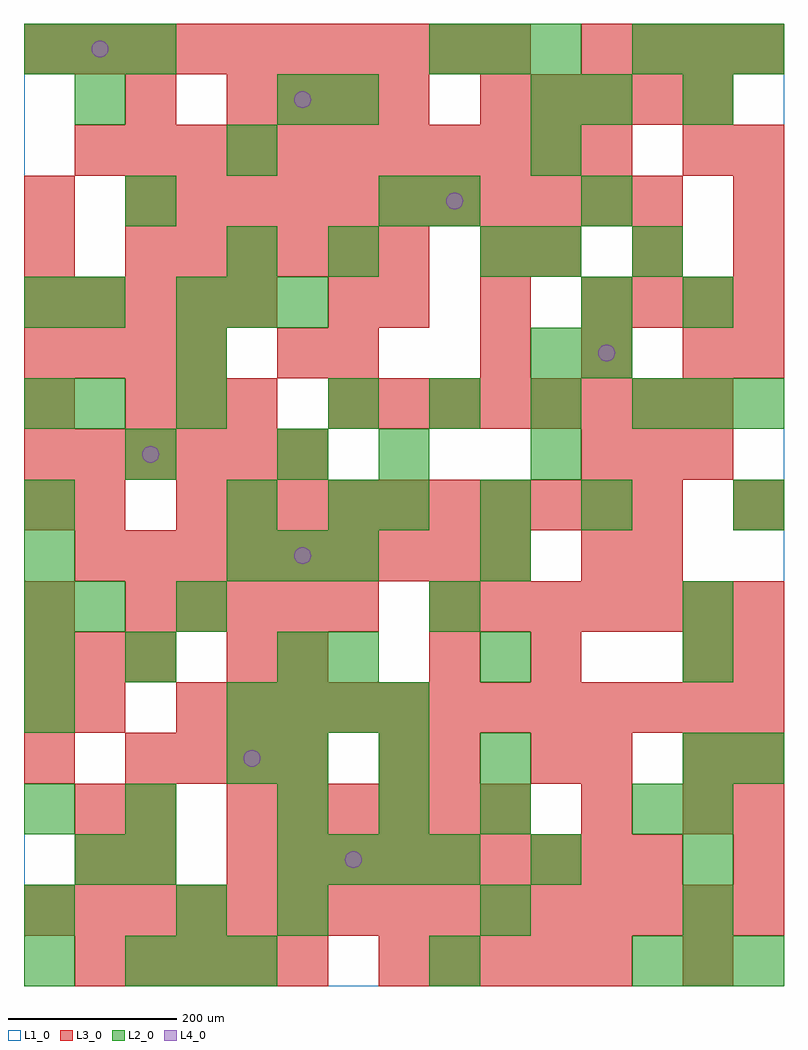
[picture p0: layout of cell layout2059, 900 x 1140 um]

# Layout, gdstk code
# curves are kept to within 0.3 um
import gdstk
lib = gdstk.Library(unit=1e-6, precision=1e-09)
def R(c, l, rs):  # rectangles x0, y0, x1, y1
    for r in rs: c.add(gdstk.rectangle(r[:2], r[2:], *l))
def A(c, l, x, y, w, h, nx, ny, dx, dy):  # array of equal rectangles
    R(c, l, [(x+i*dx, y+j*dy, x+i*dx+w, y+j*dy+h) for i in range(nx) for j in range(ny)])
def P(c, l, *ps):  # polygons
    for p in ps: c.add(gdstk.Polygon(p, *l))
L1_0 = (1, 0)
L2_0 = (2, 0)
L3_0 = (3, 0)
L4_0 = (4, 0)

layout2059 = lib.new_cell('layout2059')
R(layout2059, L1_0, [(0,0,900,1140)])
A(layout2059, L2_0, 120, 0, 60, 60, 3, 1, 60, 0)
A(layout2059, L2_0, 720, 0, 60, 60, 3, 2, 60, 1080)
A(layout2059, L2_0, 0, 60, 60, 60, 1, 3, 0, 120)
A(layout2059, L2_0, 300, 60, 60, 60, 3, 1, 240, 0)
A(layout2059, L2_0, 300, 120, 60, 60, 4, 1, 60, 0)
A(layout2059, L2_0, 780, 120, 60, 60, 1, 3, 0, 60)
A(layout2059, L2_0, 300, 180, 60, 60, 3, 2, 120, 60)
A(layout2059, L2_0, 240, 240, 60, 60, 1, 3, 0, 300)
A(layout2059, L2_0, 240, 300, 60, 60, 4, 1, 60, 0)
A(layout2059, L2_0, 0, 360, 60, 60, 1, 4, 0, 60)
A(layout2059, L2_0, 180, 420, 60, 60, 3, 1, 300, 0)
A(layout2059, L2_0, 240, 480, 60, 60, 3, 1, 60, 0)
A(layout2059, L2_0, 420, 540, 60, 60, 3, 1, 120, 0)
A(layout2059, L2_0, 600, 600, 60, 60, 1, 4, 0, 120)
A(layout2059, L2_0, 360, 660, 60, 60, 4, 1, 120, 0)
A(layout2059, L2_0, 180, 780, 60, 60, 3, 1, 60, 0)
A(layout2059, L2_0, 660, 780, 60, 60, 1, 3, 0, 120)
A(layout2059, L2_0, 0, 1080, 60, 60, 3, 1, 60, 0)
A(layout2059, L2_0, 480, 1080, 60, 60, 3, 1, 60, 0)
R(layout2059, L2_0, [(0,0,60,60), (480,0,540,60), (180,60,240,120), (60,120,120,180), (120,120,180,180), (600,120,660,180), (120,180,180,240), (720,180,780,240), (840,240,900,300), (120,360,180,420), (300,360,360,420), (360,360,420,420), (540,360,600,420), (780,360,840,420), (60,420,120,480), (540,480,600,540), (360,540,420,600), (840,540,900,600), (120,600,180,660), (300,600,360,660), (420,600,480,660), (0,660,60,720), (60,660,120,720), (180,660,240,720), (780,660,840,720), (840,660,900,720), (180,720,240,780), (660,720,720,780), (0,780,60,840), (60,780,120,840), (780,780,840,840), (360,840,420,900), (540,840,600,900), (720,840,780,900), (120,900,180,960), (420,900,480,960), (480,900,540,960), (240,960,300,1020), (60,1020,120,1080), (300,1020,360,1080), (360,1020,420,1080), (600,1020,660,1080), (780,1020,840,1080)])
A(layout2059, L3_0, 60, 0, 60, 60, 5, 1, 60, 0)
A(layout2059, L3_0, 420, 0, 60, 60, 5, 1, 60, 0)
A(layout2059, L3_0, 0, 60, 60, 60, 15, 1, 60, 0)
A(layout2059, L3_0, 240, 120, 60, 60, 9, 1, 60, 0)
A(layout2059, L3_0, 840, 120, 60, 60, 1, 3, 0, 60)
A(layout2059, L3_0, 240, 180, 60, 60, 6, 1, 60, 0)
A(layout2059, L3_0, 120, 240, 60, 60, 4, 1, 60, 0)
A(layout2059, L3_0, 0, 300, 60, 60, 1, 4, 0, 120)
A(layout2059, L3_0, 180, 300, 60, 60, 12, 1, 60, 0)
A(layout2059, L3_0, 0, 360, 60, 60, 3, 1, 60, 0)
A(layout2059, L3_0, 840, 360, 60, 60, 1, 4, 0, 180)
A(layout2059, L3_0, 120, 420, 60, 60, 5, 1, 60, 0)
A(layout2059, L3_0, 480, 420, 60, 60, 7, 1, 60, 0)
A(layout2059, L3_0, 60, 480, 60, 60, 9, 1, 60, 0)
A(layout2059, L3_0, 180, 540, 60, 60, 10, 1, 60, 0)
A(layout2059, L3_0, 0, 600, 60, 60, 6, 1, 60, 0)
A(layout2059, L3_0, 660, 600, 60, 60, 3, 1, 60, 0)
A(layout2059, L3_0, 120, 660, 60, 60, 3, 1, 60, 0)
A(layout2059, L3_0, 360, 660, 60, 60, 8, 1, 60, 0)
A(layout2059, L3_0, 0, 720, 60, 60, 4, 1, 60, 0)
A(layout2059, L3_0, 540, 720, 60, 60, 3, 1, 120, 0)
A(layout2059, L3_0, 0, 780, 60, 60, 5, 1, 60, 0)
A(layout2059, L3_0, 420, 780, 60, 60, 3, 1, 120, 0)
A(layout2059, L3_0, 720, 780, 60, 60, 3, 1, 60, 0)
A(layout2059, L3_0, 120, 840, 60, 60, 6, 1, 60, 0)
A(layout2059, L3_0, 600, 840, 60, 60, 3, 1, 120, 0)
A(layout2059, L3_0, 120, 900, 60, 60, 11, 1, 60, 0)
A(layout2059, L3_0, 60, 960, 60, 60, 11, 1, 60, 0)
A(layout2059, L3_0, 240, 1020, 60, 60, 4, 1, 60, 0)
A(layout2059, L3_0, 540, 1020, 60, 60, 5, 1, 60, 0)
A(layout2059, L3_0, 0, 1080, 60, 60, 10, 1, 60, 0)
A(layout2059, L3_0, 660, 1080, 60, 60, 4, 1, 60, 0)
R(layout2059, L3_0, [(780,0,840,60), (60,120,120,180), (120,120,180,180), (60,180,120,240), (120,180,180,240), (660,180,720,240), (780,180,840,240), (0,240,60,300), (420,240,480,300), (480,240,540,300), (600,240,660,300), (660,240,720,300), (780,240,840,300), (60,300,120,360), (240,360,300,420), (300,360,360,420), (480,360,540,420), (600,360,660,420), (780,360,840,420), (660,480,720,540), (720,480,780,540), (60,540,120,600), (300,720,360,780), (360,720,420,780), (360,780,420,840), (0,840,60,900), (540,840,600,900), (0,900,60,960), (780,960,840,1020), (840,960,900,1020), (120,1020,180,1080)])
P(layout2059, L4_0, [(100,1110),(99.239,1113.827),(97.071,1117.071),(93.827,1119.239),(90,1120),(86.173,1119.239),(82.929,1117.071),(80.761,1113.827),(80,1110),(80.761,1106.173),(82.929,1102.929),(86.173,1100.761),(90,1100),(93.827,1100.761),(97.071,1102.929),(99.239,1106.173)],
  [(160,630),(159.239,633.827),(157.071,637.071),(153.827,639.239),(150,640),(146.173,639.239),(142.929,637.071),(140.761,633.827),(140,630),(140.761,626.173),(142.929,622.929),(146.173,620.761),(150,620),(153.827,620.761),(157.071,622.929),(159.239,626.173)],
  [(280,270),(279.239,273.827),(277.071,277.071),(273.827,279.239),(270,280),(266.173,279.239),(262.929,277.071),(260.761,273.827),(260,270),(260.761,266.173),(262.929,262.929),(266.173,260.761),(270,260),(273.827,260.761),(277.071,262.929),(279.239,266.173)],
  [(340,510),(339.239,513.827),(337.071,517.071),(333.827,519.239),(330,520),(326.173,519.239),(322.929,517.071),(320.761,513.827),(320,510),(320.761,506.173),(322.929,502.929),(326.173,500.761),(330,500),(333.827,500.761),(337.071,502.929),(339.239,506.173)],
  [(340,1050),(339.239,1053.827),(337.071,1057.071),(333.827,1059.239),(330,1060),(326.173,1059.239),(322.929,1057.071),(320.761,1053.827),(320,1050),(320.761,1046.173),(322.929,1042.929),(326.173,1040.761),(330,1040),(333.827,1040.761),(337.071,1042.929),(339.239,1046.173)],
  [(400,150),(399.239,153.827),(397.071,157.071),(393.827,159.239),(390,160),(386.173,159.239),(382.929,157.071),(380.761,153.827),(380,150),(380.761,146.173),(382.929,142.929),(386.173,140.761),(390,140),(393.827,140.761),(397.071,142.929),(399.239,146.173)],
  [(520,930),(519.239,933.827),(517.071,937.071),(513.827,939.239),(510,940),(506.173,939.239),(502.929,937.071),(500.761,933.827),(500,930),(500.761,926.173),(502.929,922.929),(506.173,920.761),(510,920),(513.827,920.761),(517.071,922.929),(519.239,926.173)],
  [(700,750),(699.239,753.827),(697.071,757.071),(693.827,759.239),(690,760),(686.173,759.239),(682.929,757.071),(680.761,753.827),(680,750),(680.761,746.173),(682.929,742.929),(686.173,740.761),(690,740),(693.827,740.761),(697.071,742.929),(699.239,746.173)])

lib.write_gds('layout2059.gds')
